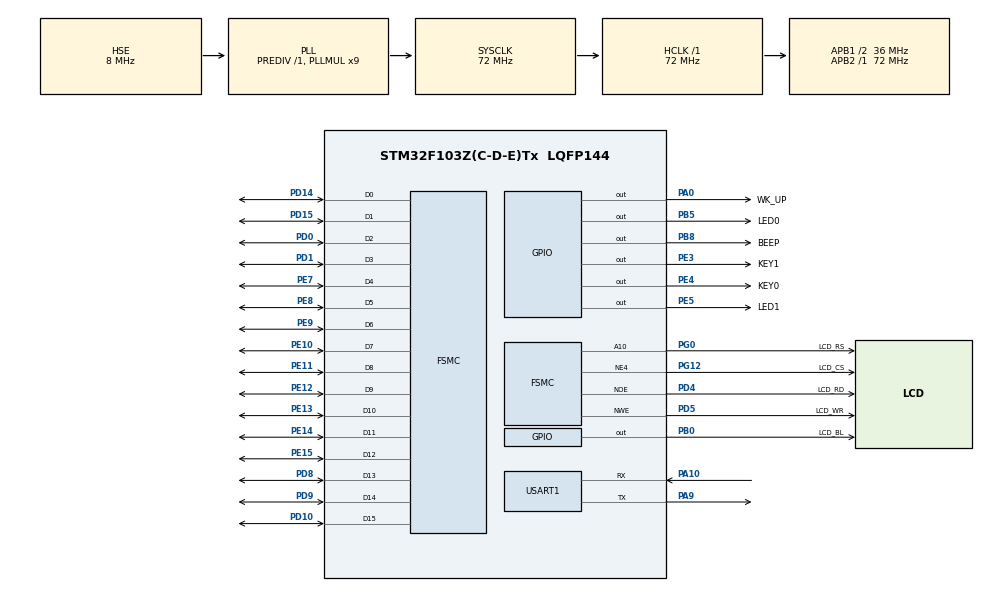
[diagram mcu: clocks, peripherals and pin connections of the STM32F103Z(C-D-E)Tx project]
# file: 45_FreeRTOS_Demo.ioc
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FREERTOS.Tasks01=task01,24,256,mytask01,Default,NULL,Dynamic,NULL,NULL;task02,10,256,mytask02,Default,NULL,Dynamic,NULL,NULL
FREERTOS.configUSE_NEWLIB_REENTRANT=1
FSMC.AddressSetupTime1=0
FSMC.BusTurnAroundDuration1=15
FSMC.DataSetupTime1=15
FSMC.ExtendedAddressSetupTime1=0
FSMC.ExtendedDataSetupTime1=1
FSMC.ExtendedMode1=FSMC_EXTENDED_MODE_ENABLE
Mcu.Family=STM32F1
Mcu.Name=STM32F103Z(C-D-E)Tx
Mcu.Package=LQFP144
NVIC.PriorityGroup=NVIC_PRIORITYGROUP_4
NVIC.TIM1_UP_IRQn=true\:15\:0\:false\:false\:true\:false\:false\:true\:true
NVIC.TimeBase=TIM1_UP_IRQn
NVIC.TimeBaseIP=TIM1
NVIC.USART1_IRQn=true\:14\:0\:true\:false\:true\:true\:true\:true\:true
OSC_IN.Mode=HSE-External-Oscillator
OSC_IN.Signal=RCC_OSC_IN
OSC_OUT.Mode=HSE-External-Oscillator
OSC_OUT.Signal=RCC_OSC_OUT
PA0-WKUP.GPIO_Label=WK_UP
PA0-WKUP.GPIO_PuPd=GPIO_PULLDOWN
PA0-WKUP.GPIO_Speed=GPIO_SPEED_FREQ_HIGH
PA0-WKUP.PinState=GPIO_PIN_RESET
PA0-WKUP.Signal=GPIO_Output
PA10.Mode=Asynchronous
PA10.Signal=USART1_RX
PA13.Mode=Serial_Wire
PA13.Signal=SYS_JTMS-SWDIO
PA14.Mode=Serial_Wire
PA14.Signal=SYS_JTCK-SWCLK
PA9.Mode=Asynchronous
PA9.Signal=USART1_TX
PB0.GPIO_Label=LCD_BL
PB0.GPIO_PuPd=GPIO_PULLUP
PB0.GPIO_Speed=GPIO_SPEED_FREQ_HIGH
PB0.PinState=GPIO_PIN_SET
PB0.Signal=GPIO_Output
PB5.GPIO_Label=LED0
PB5.GPIO_PuPd=GPIO_PULLUP
PB5.GPIO_Speed=GPIO_SPEED_FREQ_HIGH
PB5.PinState=GPIO_PIN_SET
PB5.Signal=GPIO_Output
PB8.GPIO_Label=BEEP
PB8.GPIO_ModeDefaultOutputPP=GPIO_MODE_OUTPUT_PP
PB8.GPIO_PuPd=GPIO_PULLDOWN
PB8.GPIO_Speed=GPIO_SPEED_FREQ_HIGH
PB8.PinState=GPIO_PIN_RESET
PB8.Signal=GPIO_Output
PC14-OSC32_IN.Mode=LSE-External-Oscillator
PC14-OSC32_IN.Signal=RCC_OSC32_IN
PC15-OSC32_OUT.Mode=LSE-External-Oscillator
PC15-OSC32_OUT.Signal=RCC_OSC32_OUT
PD0.Signal=FSMC_D2_DA2
PD1.Signal=FSMC_D3_DA3
PD10.Signal=FSMC_D15_DA15
PD14.Signal=FSMC_D0_DA0
PD15.Signal=FSMC_D1_DA1
PD4.GPIO_Label=LCD_RD
PD4.Signal=FSMC_NOE
PD5.GPIO_Label=LCD_WR
PD5.Signal=FSMC_NWE
PD8.Signal=FSMC_D13_DA13
PD9.Signal=FSMC_D14_DA14
PE10.Signal=FSMC_D7_DA7
PE11.Signal=FSMC_D8_DA8
PE12.Signal=FSMC_D9_DA9
PE13.Signal=FSMC_D10_DA10
PE14.Signal=FSMC_D11_DA11
PE15.Signal=FSMC_D12_DA12
PE3.GPIO_Label=KEY1
PE3.GPIO_PuPd=GPIO_PULLUP
PE3.GPIO_Speed=GPIO_SPEED_FREQ_HIGH
PE3.PinState=GPIO_PIN_SET
PE3.Signal=GPIO_Output
PE4.GPIO_Label=KEY0
PE4.GPIO_PuPd=GPIO_PULLUP
PE4.GPIO_Speed=GPIO_SPEED_FREQ_HIGH
PE4.PinState=GPIO_PIN_SET
PE4.Signal=GPIO_Output
PE5.GPIO_Label=LED1
PE5.GPIO_PuPd=GPIO_PULLUP
PE5.GPIO_Speed=GPIO_SPEED_FREQ_HIGH
PE5.PinState=GPIO_PIN_SET
PE5.Signal=GPIO_Output
PE7.Signal=FSMC_D4_DA4
PE8.Signal=FSMC_D5_DA5
PE9.Signal=FSMC_D6_DA6
PG0.GPIO_Label=LCD_RS
PG0.Signal=FSMC_A10
PG12.GPIO_Label=LCD_CS
PG12.Mode=NorPsramChipSelect4_1
PG12.Signal=FSMC_NE4
ProjectManager.HeapSize=0x800
ProjectManager.StackSize=0x1000
ProjectManager.TargetToolchain=STM32CubeIDE
RCC.AHBFreq_Value=72000000
RCC.APB1CLKDivider=RCC_HCLK_DIV2
RCC.APB1Freq_Value=36000000
RCC.APB1TimFreq_Value=72000000
RCC.APB2Freq_Value=72000000
RCC.APB2TimFreq_Value=72000000
RCC.HCLKFreq_Value=72000000
RCC.PLLMUL=RCC_PLL_MUL9
RCC.PLLSourceVirtual=RCC_PLLSOURCE_HSE
RCC.SYSCLKFreq_VALUE=72000000
RCC.SYSCLKSource=RCC_SYSCLKSOURCE_PLLCLK
RCC.USBFreq_Value=72000000
SH.FSMC_A10.0=FSMC_A10,A10_1
SH.FSMC_D0_DA0.0=FSMC_D0,16b-d1
SH.FSMC_D10_DA10.0=FSMC_D10,16b-d1
SH.FSMC_D11_DA11.0=FSMC_D11,16b-d1
SH.FSMC_D12_DA12.0=FSMC_D12,16b-d1
SH.FSMC_D13_DA13.0=FSMC_D13,16b-d1
SH.FSMC_D14_DA14.0=FSMC_D14,16b-d1
SH.FSMC_D15_DA15.0=FSMC_D15,16b-d1
SH.FSMC_D1_DA1.0=FSMC_D1,16b-d1
SH.FSMC_D2_DA2.0=FSMC_D2,16b-d1
SH.FSMC_D3_DA3.0=FSMC_D3,16b-d1
SH.FSMC_D4_DA4.0=FSMC_D4,16b-d1
SH.FSMC_D5_DA5.0=FSMC_D5,16b-d1
SH.FSMC_D6_DA6.0=FSMC_D6,16b-d1
SH.FSMC_D7_DA7.0=FSMC_D7,16b-d1
SH.FSMC_D8_DA8.0=FSMC_D8,16b-d1
SH.FSMC_D9_DA9.0=FSMC_D9,16b-d1
SH.FSMC_NOE.0=FSMC_NOE,Lcd1
SH.FSMC_NWE.0=FSMC_NWE,Lcd1
USART1.VirtualMode=VM_ASYNC
VP_FREERTOS_VS_CMSIS_V2.Mode=CMSIS_V2
VP_SYS_VS_tim1.Mode=TIM1
board=custom

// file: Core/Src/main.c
/* USER CODE BEGIN Header */
/**
 ****************************************************************************************************
 * @file        main.c
 * @author      正点原子团队(ALIENTEK)
 * @version     V1.0
 * @date        2024-01-01
 * @brief       FreeRTOS 实验
 * @license     Copyright (c) 2020-2032, 广州市星翼电子科技有限公司
 ****************************************************************************************************
 * @attention
 *
 * 实验平台:正点原子 STM32F103开发板
 * 在线视频:www.yuanzige.com
 * 技术论坛:www.openedv.com
 * 公司网址:www.alientek.com
 * 购买地址:openedv.taobao.com
 *
 ****************************************************************************************************
 */
/* USER CODE END Header */
#include "main.h"
#include "cmsis_os.h"
#include "usart.h"
#include "gpio.h"
#include "fsmc.h"

/* USER CODE BEGIN Includes */
#include "../../BSP/LED/led.h"
#include "../../BSP/BEEP/beep.h"
#include "../../BSP/KEY/key.h"
#include "../../BSP/LCD/lcd.h"
#include "../../SYSTEM/delay/delay.h"
#include "../../SYSTEM/sys/sys.h"
#include "../../ATK_Middlewares/MALLOC/malloc.h"
/* USER CODE END Includes */

void SystemClock_Config(void);
void MX_FREERTOS_Init(void);

int main(void)
{

  /* MCU Configuration--------------------------------------------------------*/

  /* Reset of all peripherals, Initializes the Flash interface and the Systick. */
  HAL_Init();

  /* Configure the system clock */
  SystemClock_Config();

  /* USER CODE BEGIN SysInit */
  delay_init(72);						   	/* 初始化延时函数 */
  /* USER CODE END SysInit */

  /* Initialize all configured peripherals */
  MX_GPIO_Init();
  MX_FSMC_Init();
  MX_USART1_UART_Init();
  /* USER CODE BEGIN 2 */
  lcd_init();                       		/* 初始化LCD */
  my_mem_init(SRAMIN);                		/* 初始化内部SRAM内存池 */

  lcd_show_string(30,  50, 200, 16, 16, "STM32", RED);
  lcd_show_string(30,  70, 200, 16, 16, "FreeRTOS Porting", RED);
  lcd_show_string(30,  90, 200, 16, 16, "ATOM@ALIENTEK", RED);

  /* USER CODE END 2 */

  /* Init scheduler */
  osKernelInitialize();  /* Call init function for freertos objects (in freertos.c) */
  MX_FREERTOS_Init();

  /* Start scheduler */
  osKernelStart();

  /* We should never get here as control is now taken by the scheduler */
  /* Infinite loop */
  while (1)
  {

  }
}

void SystemClock_Config(void)
{
  RCC_OscInitTypeDef RCC_OscInitStruct = {0};
  RCC_ClkInitTypeDef RCC_ClkInitStruct = {0};

  /** Initializes the RCC Oscillators according to the specified parameters
  * in the RCC_OscInitTypeDef structure.
  */
  RCC_OscInitStruct.OscillatorType = RCC_OSCILLATORTYPE_HSE;
  RCC_OscInitStruct.HSEState = RCC_HSE_ON;
  RCC_OscInitStruct.HSEPredivValue = RCC_HSE_PREDIV_DIV1;
  RCC_OscInitStruct.HSIState = RCC_HSI_ON;
  RCC_OscInitStruct.PLL.PLLState = RCC_PLL_ON;
  RCC_OscInitStruct.PLL.PLLSource = RCC_PLLSOURCE_HSE;
  RCC_OscInitStruct.PLL.PLLMUL = RCC_PLL_MUL9;
  if (HAL_RCC_OscConfig(&RCC_OscInitStruct) != HAL_OK)
  {
    Error_Handler();
  }

  /** Initializes the CPU, AHB and APB buses clocks
  */
  RCC_ClkInitStruct.ClockType = RCC_CLOCKTYPE_HCLK|RCC_CLOCKTYPE_SYSCLK
                              |RCC_CLOCKTYPE_PCLK1|RCC_CLOCKTYPE_PCLK2;
  RCC_ClkInitStruct.SYSCLKSource = RCC_SYSCLKSOURCE_PLLCLK;
  RCC_ClkInitStruct.AHBCLKDivider = RCC_SYSCLK_DIV1;
  RCC_ClkInitStruct.APB1CLKDivider = RCC_HCLK_DIV2;
  RCC_ClkInitStruct.APB2CLKDivider = RCC_HCLK_DIV1;

  if (HAL_RCC_ClockConfig(&RCC_ClkInitStruct, FLASH_LATENCY_2) != HAL_OK)
  {
    Error_Handler();
  }
}

void HAL_TIM_PeriodElapsedCallback(TIM_HandleTypeDef *htim)
{
  if (htim->Instance == TIM1) {
    HAL_IncTick();
  }
}

void Error_Handler(void)
{
  __disable_irq();
  while (1)
  {
  }
}

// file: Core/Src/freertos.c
/* USER CODE BEGIN Header */
/* USER CODE END Header */

#include "FreeRTOS.h"
#include "task.h"
#include "main.h"
#include "cmsis_os.h"

/* USER CODE BEGIN Includes */
#include "../../BSP/LED/led.h"
#include "usart.h"
/* USER CODE END Includes */

/* Definitions for task01 */
osThreadId_t task01Handle;
const osThreadAttr_t task01_attributes = {
  .name = "task01",
  .stack_size = 256 * 4,
  .priority = (osPriority_t) osPriorityNormal,
};
/* Definitions for task02 */
osThreadId_t task02Handle;
const osThreadAttr_t task02_attributes = {
  .name = "task02",
  .stack_size = 256 * 4,
  .priority = (osPriority_t) osPriorityLow2,
};

void mytask01(void *argument);
void mytask02(void *argument);

void MX_FREERTOS_Init(void); /* (MISRA C 2004 rule 8.1) */

void MX_FREERTOS_Init(void) {

  /* Create the thread(s) */
  /* creation of task01 */
  task01Handle = osThreadNew(mytask01, NULL, &task01_attributes);

  /* creation of task02 */
  task02Handle = osThreadNew(mytask02, NULL, &task02_attributes);

}

void mytask01(void *argument)
{
  /* USER CODE BEGIN mytask01 */
	while(1)
	{
		LED0_TOGGLE();
		vTaskDelay(1000);
	}

  /* USER CODE END mytask01 */
}

void mytask02(void *argument)
{
  /* USER CODE BEGIN mytask02 */
	float num_float = 0.0;
	while(1)
	{
		num_float += 0.01;
		printf("num_float:%.2f\r\n",num_float);
		vTaskDelay(500);
	}
  /* USER CODE END mytask02 */
}
